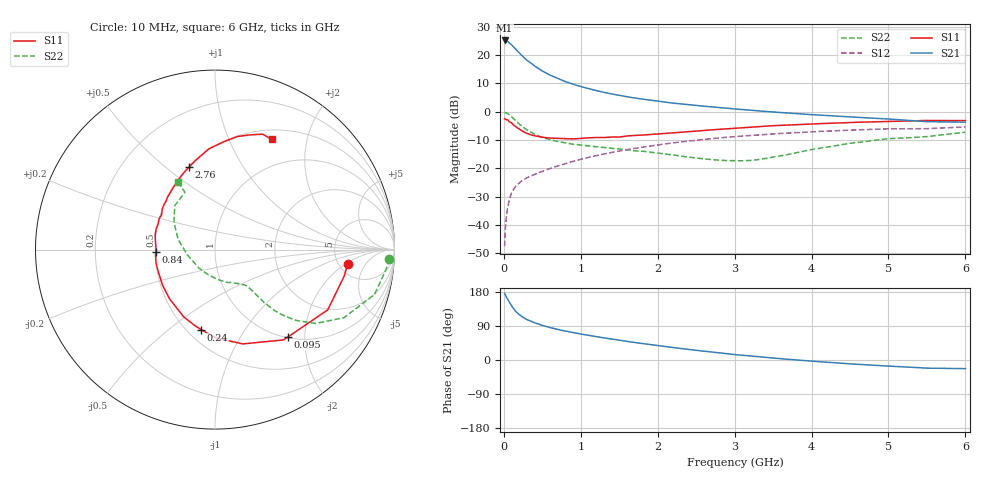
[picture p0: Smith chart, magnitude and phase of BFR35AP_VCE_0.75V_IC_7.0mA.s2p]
! Infineon Technologies  Discrete & RF Semiconductors
! BFR35AP
! VCE = 0.75 V,  IC =  7.0 mA
! Common Emitter S-Parameters:  Nov 2015
# GHz  S  MA  R  50
!  f  S11  S21  S12  S22
! GHz  MAG  ANG  MAG  ANG  MAG  ANG  MAG  ANG
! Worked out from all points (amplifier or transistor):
!   210 points, 10 MHz to 6 GHz, reference 50 ohm
!   highest |S21| = 25.1 dB at 10 MHz (marker M1)
!   |S21| within 3 dB of that: start of sweep to 151.9 MHz
!   unconditionally stable (mu >= 1): 563 MHz to end of sweep
!   at 185 MHz: K = 0.50, MSG = 23.4 dB, |S12| = -25.6 dB
!   at 1.52 GHz: K = 1.19, MAG = 7.1 dB, |S12| = -13.8 dB
!   at 6 GHz: K = 1.05, MAG = -0.6 dB, |S12| = -5.4 dB
!   S11 on the Smith chart (normalised r, x): 10 MHz: 6.06, -2.11; 95 MHz: 1.02, -1.65; 240 MHz: 0.59, -0.66; 840 MHz: 0.50, -0.02; 2.76 GHz: 0.51, +0.60; 6 GHz: 0.62, +1.45
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0.01  0.744 -6.0  17.97 175.9  0.0042 85.1  0.9736 -3.1
0.02  0.7347 -11.6  17.95 171.5  0.0085 83.9  0.9606 -6.4
0.05  0.7124 -28.1  17.27 159.7  0.0205 76.3  0.9234 -15.7
0.095  0.634 -50.1  15.26 144.7  0.0351 66.8  0.822 -26.5
0.1  0.6318 -52.8  15.11 142.8  0.0367 66.2  0.8128 -27.8
0.15  0.5477 -73.6  12.8 128.9  0.0473 58.9  0.6967 -36.2
0.2  0.4924 -89.1  10.86 119.8  0.0551 55.4  0.6023 -41.0
0.24  0.4531 -99.7  9.574 114.0  0.0605 54.0  0.5441 -43.3
0.3  0.4132 -115.0  8.063 106.5  0.0675 53.2  0.4741 -45.7
0.4  0.3736 -132.5  6.353 98.2  0.0777 53.3  0.3965 -47.2
0.48  0.3559 -142.9  5.405 92.8  0.0859 54.0  0.3582 -47.4
0.6  0.3405 -157.2  4.398 85.6  0.0987 54.6  0.3185 -47.8
0.7  0.3369 -167.2  3.827 80.6  0.1093 55.5  0.2958 -48.0
0.84  0.3305 -177.4  3.234 74.8  0.1252 55.9  0.2732 -48.7
1.02  0.3368 170.7  2.714 67.9  0.1458 55.6  0.2542 -50.6
1.4  0.356 150.8  2.042 55.3  0.1894 53.6  0.2253 -57.1
2.02  0.4043 128.2  1.508 37.6  0.2598 47.5  0.1831 -74.9
2.76  0.4808 107.6  1.189 19.8  0.3382 38.1  0.1395 -113.6
3.1  0.5165 100.7  1.084 12.6  0.3692 33.3  0.135 -139.9
4.1  0.61 84.0  0.865 -4.5  0.4452 19.6  0.2238 159.9
5.1  0.6727 72.0  0.722 -17.2  0.4949 6.2  0.336 129.4
6  0.6902 62.8  0.648 -22.8  0.5341 -3.1  0.4301 118.8
